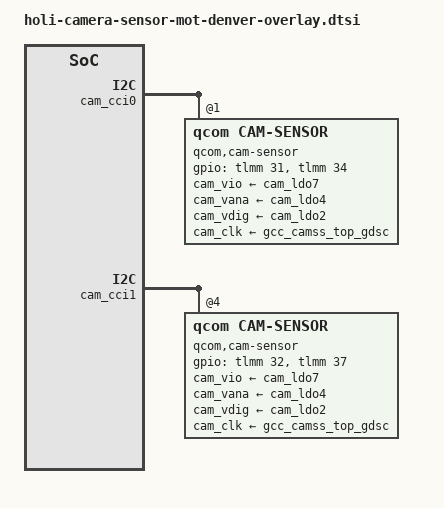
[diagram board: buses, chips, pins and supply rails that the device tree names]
#include <dt-bindings/clock/qcom,gcc-holi.h>

&tlmm {
	cam_sensor_mclk0_active: cam_sensor_mclk0_active {
		mux {
			pins = "gpio29";
			function = "cam_mclk";
		};

		config {
			pins = "gpio29";
			bias-disable; /* No PULL */
			drive-strength = <2>; /* 2 MA */
		};
	};

	cam_sensor_mclk0_suspend: cam_sensor_mclk0_suspend {
		mux {
			pins = "gpio29";
			function = "cam_mclk";
		};

		config {
			pins = "gpio29";
			bias-pull-down; /* PULL DOWN */
			drive-strength = <2>; /* 2 MA */
		};
	};

	cam_sensor_mclk1_active: cam_sensor_mclk1_active {
		mux {
			pins = "gpio30";
			function = "cam_mclk";
		};

		config {
			pins = "gpio30";
			bias-disable; /* No PULL */
			drive-strength = <2>; /* 2 MA */
		};
	};

	cam_sensor_mclk1_suspend: cam_sensor_mclk1_suspend {
		mux {
			pins = "gpio30";
			function = "cam_mclk";
		};

		config {
			pins = "gpio30";
			bias-pull-down; /* PULL DOWN */
			drive-strength = <2>; /* 2 MA */
		};
	};

	cam_sensor_mclk2_active: cam_sensor_mclk2_active {
		mux {
			pins = "gpio31";
			function = "cam_mclk";
		};

		config {
			pins = "gpio31";
			bias-disable; /* No PULL */
			drive-strength = <2>; /* 2 MA */
		};
	};

	cam_sensor_mclk2_suspend: cam_sensor_mclk2_suspend {
		mux {
			pins = "gpio31";
			function = "cam_mclk";
		};

		config {
			pins = "gpio31";
			bias-pull-down; /* PULL DOWN */
			drive-strength = <2>; /* 2 MA */
		};
	};

	cam_sensor_mclk3_active: cam_sensor_mclk3_active {
		mux {
			pins = "gpio32";
			function = "cam_mclk";
		};

		config {
			pins = "gpio32";
			bias-disable; /* No PULL */
			drive-strength = <2>; /* 2 MA */
		};
	};

	cam_sensor_mclk3_suspend: cam_sensor_mclk3_suspend {
		mux {
			pins = "gpio32";
			function = "cam_mclk";
		};

		config {
			pins = "gpio32";
			bias-pull-down; /* PULL DOWN */
			drive-strength = <2>; /* 2 MA */
		};
	};

	cam_sensor_front_reset_active: cam_sensor_front_reset_active {
		mux {
			pins = "gpio34";
			function = "gpio";
		};

		config {
			pins = "gpio34";
			bias-disable; /* No PULL */
			drive-strength = <2>; /* 2 MA */
		};
	};

	cam_sensor_front_reset_suspend: cam_sensor_front_reset_suspend {
		mux {
			pins = "gpio34";
			function = "gpio";
		};

		config {
			pins = "gpio34";
			bias-pull-down; /* PULL DOWN */
			drive-strength = <2>; /* 2 MA */
			output-low;
		};
	};

	cam_sensor_macro_reset_active: cam_sensor_macro_reset_active {
		mux {
			pins = "gpio37";
			function = "gpio";
		};

		config {
			pins = "gpio37";
			bias-disable; /* No PULL */
			drive-strength = <2>; /* 2 MA */
		};
	};

	cam_sensor_macro_reset_suspend: cam_sensor_macro_reset_suspend {
		mux {
			pins = "gpio37";
			function = "gpio";
		};

		config {
			pins = "gpio37";
			bias-pull-down; /* PULL DOWN */
			drive-strength = <2>; /* 2 MA */
			output-low;
		};
	};
};

&soc {
	qcom,cam-res-mgr {
		compatible = "qcom,cam-res-mgr";
		status = "ok";
	};
};

&cam_cci0 {
	qcom,cam-sensor@1 {
		cell-index = <1>;
		compatible = "qcom,cam-sensor";
		csiphy-sd-index = <1>;
		sensor-position-roll = <270>;
		sensor-position-pitch = <0>;
		sensor-position-yaw = <0>;
		//eeprom-src = <&eeprom_front>;
		cam_vio-supply = <&cam_ldo7>;
		cam_vana-supply = <&cam_ldo4>;
		cam_vdig-supply = <&cam_ldo2>;
		cam_clk-supply = <&gcc_camss_top_gdsc>;
		regulator-names = "cam_vio", "cam_vana", "cam_vdig",
			"cam_clk";
		rgltr-cntrl-support;
		rgltr-min-voltage = <1800000 2800000 1200000 0>;
		rgltr-max-voltage = <1800000 2800000 1200000 0>;
		rgltr-load-current = <2500 50000 140000 0>;
		gpio-no-mux = <0>;
		pinctrl-names = "cam_default", "cam_suspend";
		pinctrl-0 = <&cam_sensor_mclk2_active
				&cam_sensor_front_reset_active>;
		pinctrl-1 = <&cam_sensor_mclk2_suspend
				&cam_sensor_front_reset_suspend>;
		gpios = <&tlmm 31 0>,
			<&tlmm 34 0>;
		gpio-reset = <1>;
		gpio-req-tbl-num = <0 1>;
		gpio-req-tbl-flags = <1 0>;
		gpio-req-tbl-label = "CAMIF_MCLK2",
					"CAM_RESET1";
		cci-master = <0>;
		status = "ok";
		clocks = <&gcc GCC_CAMSS_MCLK2_CLK>;
		clock-names = "cam_clk";
		clock-cntl-level = "turbo";
		clock-rates = <24000000>;
	};
};

&cam_cci1 {
	qcom,cam-sensor@4 {
		cell-index = <4>;
		compatible = "qcom,cam-sensor";
		csiphy-sd-index = <3>;
		sensor-position-roll = <90>;
		sensor-position-pitch = <0>;
		sensor-position-yaw = <180>;
		//eeprom-src = <&eeprom_macro>;
		cam_vio-supply = <&cam_ldo7>;
		cam_vana-supply = <&cam_ldo4>;
		cam_vdig-supply = <&cam_ldo2>;
		cam_clk-supply = <&gcc_camss_top_gdsc>;
		regulator-names = "cam_vio", "cam_vana", "cam_vdig",
			"cam_clk";
		rgltr-cntrl-support;
		rgltr-min-voltage = <1800000 2800000 1200000 0>;
		rgltr-max-voltage = <1800000 2800000 1200000 0>;
		rgltr-load-current = <120000 80000 1200000 0>;
		gpio-no-mux = <0>;
		pinctrl-names = "cam_default", "cam_suspend";
		pinctrl-0 = <&cam_sensor_mclk3_active
				&cam_sensor_macro_reset_active>;
		pinctrl-1 = <&cam_sensor_mclk3_suspend
				&cam_sensor_macro_reset_suspend>;
		gpios = <&tlmm 32 0>,
			<&tlmm 37 0>;
		gpio-reset = <1>;
		gpio-req-tbl-num = <0 1>;
		gpio-req-tbl-flags = <1 0>;
		gpio-req-tbl-label = "CAMIF_MCLK3",
					"CAM_RESET4";
		cci-master = <0>;
		status = "ok";
		clocks = <&gcc GCC_CAMSS_MCLK3_CLK>;
		clock-names = "cam_clk";
		clock-cntl-level = "turbo";
		clock-rates = <24000000>;
	};
};
